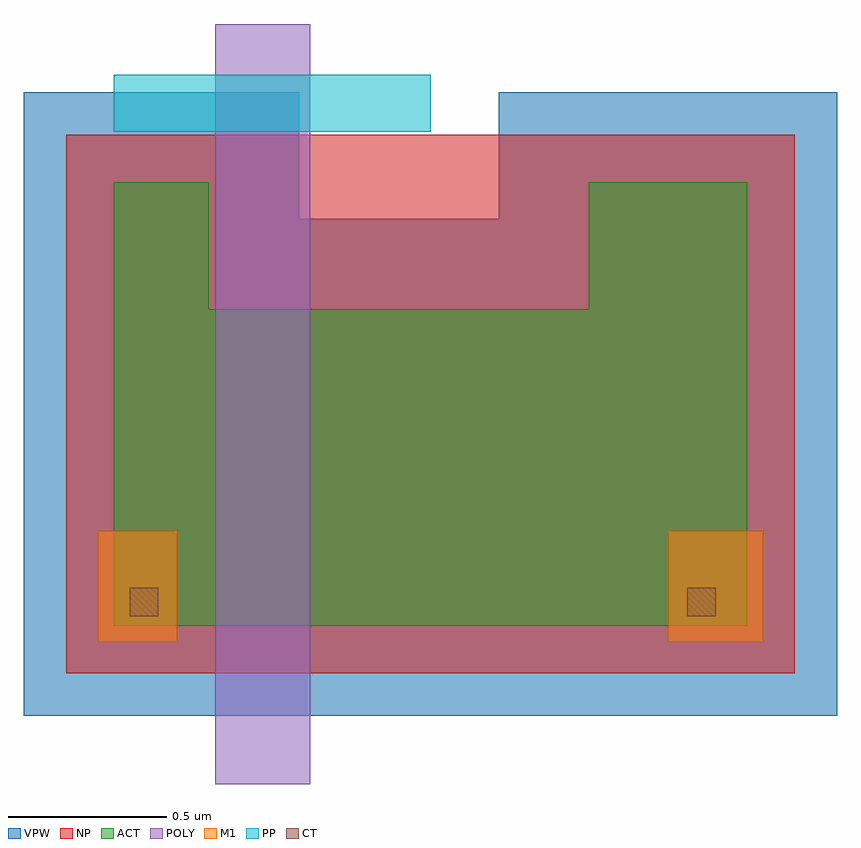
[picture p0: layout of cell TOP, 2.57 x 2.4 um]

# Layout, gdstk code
import gdstk
lib = gdstk.Library(unit=1e-6, precision=1e-09)
def R(c, l, rs):  # rectangles x0, y0, x1, y1
    for r in rs: c.add(gdstk.rectangle(r[:2], r[2:], *l))
def P(c, l, *ps):  # polygons
    for p in ps: c.add(gdstk.Polygon(p, *l))
ACT = (2, 1)
POLY = (41, 1)
NP = (52, 1)
PP = (53, 1)
CT = (72, 1)
M1 = (81, 1)
VPW = (261, 12)

top = lib.new_cell('TOP')
P(top, ACT, [(0,0),(0,1.4),(0.3,1.4),(0.3,1),(1.5,1),(1.5,1.4),(2,1.4),(2,0)])
R(top, POLY, [(0.32,-0.5,0.62,1.9)])
R(top, NP, [(-0.15,-0.15,2.15,1.55)])
R(top, PP, [(0,1.56,1,1.74)])
R(top, CT, [(0.05,0.03,0.14,0.12), (1.81,0.03,1.9,0.12)])
R(top, M1, [(-0.05,-0.05,0.2,0.3), (1.75,-0.05,2.05,0.3)])
P(top, VPW, [(-0.285,-0.285),(-0.285,1.685),(0.585,1.685),(0.585,1.285),(1.215,1.285),(1.215,1.685),(2.285,1.685),(2.285,-0.285)])

lib.write_gds('TOP.gds')
